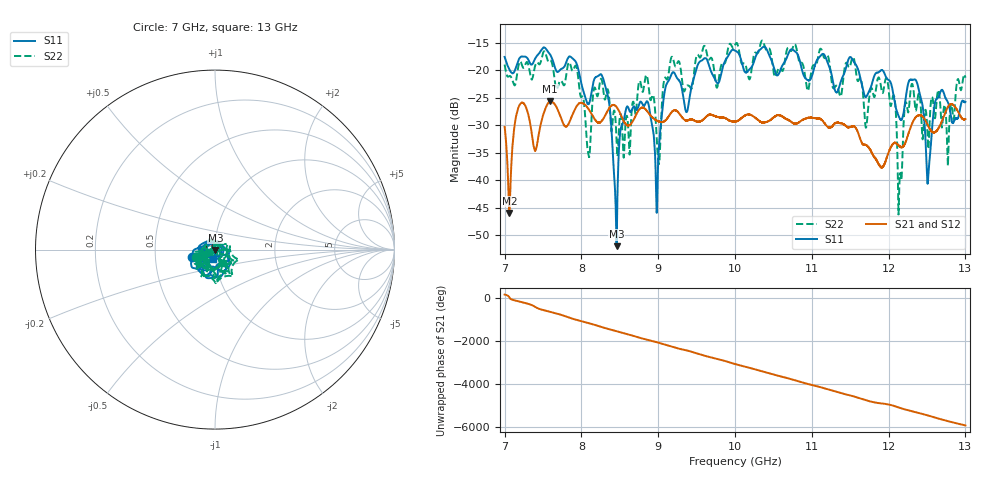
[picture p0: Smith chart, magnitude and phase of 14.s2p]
[Version] 2.0
! Rohde & Schwarz Vector Network Analyzer
! Rohde-Schwarz,ZNL20-2Port,1323001220200009,1.71.1.10-23.02.1.238
! Port Assignments:
! Nominal Port -> Actual Test Port
!  1 -> 1
!  2 -> 2
! Created: GMT+3 2024-09-24 15:14:04
# Hz S DB R 50
[Number of Ports] 2
[Two-Port Data Order] 21_12
! freq[Hz]  S11[mag dB]  S11[ang]  S21[mag dB]  S21[ang]  S12[mag dB]  S12[ang]  S22[mag dB]  S22[ang]
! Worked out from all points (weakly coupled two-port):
!   6001 points, 7 GHz to 13 GHz, reference 50 ohm
!   highest |S21| = -25.65 dB at 7.592 GHz (marker M1); lowest = -46.0 dB at 7.063 GHz (marker M2)
!   lowest |S11| = -52.0 dB at 8.458 GHz (marker M3), VSWR 1.01, Z = 50.2 - j0.162 ohm
!   |S11| at or under -10 dB: start of sweep to end of sweep
!   |S22| runs from -46.2 to -14.6 dB; largest |S21 - S12| = 0.00073
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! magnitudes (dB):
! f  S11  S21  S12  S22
! 7 GHz  -17.6  -30.3  -30.3  -19.0
! 7.063 GHz  -19.9  -46.0  -45.6  -21.1
! 7.192 GHz  -17.8  -26.3  -26.4  -18.6
! 7.4 GHz  -17.8  -34.6  -34.6  -19.1
! 7.592 GHz  -17.1  -25.6  -25.7  -18.3
! 8 GHz  -22.4  -25.9  -25.9  -24.9
! 8.093 GHz  -26.2  -27.0  -27.0  -35.4
! 8.291 GHz  -21.8  -28.7  -28.7  -24.3
! 8.458 GHz  -52.0  -26.7  -26.7  -32.8
! 8.597 GHz  -26.6  -30.0  -30.0  -28.5
! 8.847 GHz  -25.7  -27.3  -27.3  -20.9
! 9 GHz  -36.5  -29.3  -29.2  -36.4
! 9.175 GHz  -20.7  -27.6  -27.6  -17.6
! 9.371 GHz  -27.6  -29.2  -29.2  -22.9
! 10 GHz  -16.4  -29.3  -29.3  -15.4
! 11 GHz  -21.1  -28.6  -28.6  -19.7
! 12 GHz  -21.7  -34.9  -34.9  -23.5
! 12.15 GHz  -28.8  -33.8  -33.8  -39.0
! 12.3 GHz  -21.7  -29.9  -29.8  -22.5
! 12.52 GHz  -39.6  -30.1  -30.1  -34.1
! 12.67 GHz  -24.2  -30.1  -30.1  -25.1
! 13 GHz  -25.8  -28.9  -28.9  -21.3
